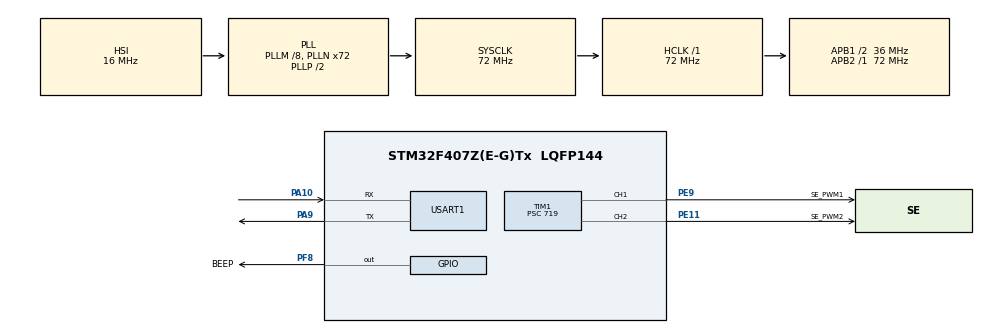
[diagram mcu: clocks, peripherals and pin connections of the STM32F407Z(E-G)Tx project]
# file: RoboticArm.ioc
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Mcu.Family=STM32F4
Mcu.Name=STM32F407Z(E-G)Tx
Mcu.Package=LQFP144
NVIC.PriorityGroup=NVIC_PRIORITYGROUP_4
NVIC.TIM1_BRK_TIM9_IRQn=true\:0\:0\:false\:false\:true\:true\:true\:true
NVIC.TIM1_CC_IRQn=true\:0\:0\:false\:false\:true\:true\:true\:true
NVIC.TIM1_TRG_COM_TIM11_IRQn=true\:0\:0\:false\:false\:true\:true\:true\:true
NVIC.TIM1_UP_TIM10_IRQn=true\:0\:0\:false\:false\:true\:true\:true\:true
NVIC.USART1_IRQn=true\:0\:0\:false\:false\:true\:true\:true\:true
PA10.Mode=Asynchronous
PA10.Signal=USART1_RX
PA9.Mode=Asynchronous
PA9.Signal=USART1_TX
PC14-OSC32_IN.Mode=LSE-External-Clock-Source
PC14-OSC32_IN.Signal=RCC_OSC32_IN
PC15-OSC32_OUT.Mode=LSE-External-Clock-Source
PC15-OSC32_OUT.Signal=RCC_OSC32_OUT
PE11.GPIO_Label=SE_PWM2
PE11.Signal=S_TIM1_CH2
PE9.GPIO_Label=SE_PWM1
PE9.Signal=S_TIM1_CH1
PF8.GPIO_Label=BEEP
PF8.GPIO_PuPd=GPIO_NOPULL
PF8.PinState=GPIO_PIN_RESET
PF8.Signal=GPIO_Output
PH0-OSC_IN.Mode=HSE-External-Clock-Source
PH0-OSC_IN.Signal=RCC_OSC_IN
PH1-OSC_OUT.Mode=HSE-External-Clock-Source
PH1-OSC_OUT.Signal=RCC_OSC_OUT
ProjectManager.HeapSize=0x200
ProjectManager.StackSize=0x400
ProjectManager.TargetToolchain=CMake
RCC.48MHZClocksFreq_Value=36000000
RCC.AHBFreq_Value=72000000
RCC.APB1CLKDivider=RCC_HCLK_DIV2
RCC.APB1Freq_Value=36000000
RCC.APB1TimFreq_Value=72000000
RCC.APB2Freq_Value=72000000
RCC.APB2TimFreq_Value=72000000
RCC.CortexFreq_Value=72000000
RCC.HCLKFreq_Value=72000000
RCC.HSE_VALUE=8000000
RCC.HSI_VALUE=16000000
RCC.LSE_VALUE=32768
RCC.PLLM=8
RCC.PLLN=72
RCC.SYSCLKFreq_VALUE=72000000
RCC.SYSCLKSource=RCC_SYSCLKSOURCE_PLLCLK
RCC.VCOOutputFreq_Value=144000000
SH.S_TIM1_CH1.0=TIM1_CH1,PWM Generation1 CH1
SH.S_TIM1_CH2.0=TIM1_CH2,PWM Generation2 CH2
TIM1.Channel-PWM\ Generation1\ CH1=TIM_CHANNEL_1
TIM1.Channel-PWM\ Generation2\ CH2=TIM_CHANNEL_2
TIM1.Period=999
TIM1.Prescaler=719
USART1.VirtualMode=VM_ASYNC
VP_TIM1_VS_ClockSourceINT.Mode=Internal
board=custom

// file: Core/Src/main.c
/* USER CODE BEGIN Header */
/**
  ******************************************************************************
  * @file           : main.c
  * @brief          : Main program body
  ******************************************************************************
  * @attention
  *
  * Copyright (c) 2024 STMicroelectronics.
  * All rights reserved.
  *
  * This software is licensed under terms that can be found in the LICENSE file
  * in the root directory of this software component.
  * If no LICENSE file comes with this software, it is provided AS-IS.
  *
  ******************************************************************************
  */
/* USER CODE END Header */
#include "main.h"
#include "tim.h"
#include "usart.h"
#include "gpio.h"

/* USER CODE BEGIN Includes */
#include <stdio.h>

#include "arm.h"
/* USER CODE END Includes */

/* USER CODE BEGIN PV */
Motor_TypeDef motor1;
Motor_TypeDef motor2;
Arm_TypeDef arm;
/* USER CODE END PV */

void SystemClock_Config(void);
/* USER CODE BEGIN PFP */
int __io_putchar(int ch);

void Az_Arm_Init(double degree1, double degree2);

/* USER CODE END PFP */

int main(void)
{

  /* MCU Configuration--------------------------------------------------------*/

  /* Reset of all peripherals, Initializes the Flash interface and the Systick. */
  HAL_Init();

  /* Configure the system clock */
  SystemClock_Config();

  /* Initialize all configured peripherals */
  MX_GPIO_Init();
  MX_TIM1_Init();
  MX_USART1_UART_Init();
  /* USER CODE BEGIN 2 */
  // Az_Arm_Init(0, 0);
  // HAL_Delay(2000);
  /* USER CODE END 2 */

  /* Infinite loop */
  /* USER CODE BEGIN WHILE */
  printf("Program Starts\n");

  HAL_TIM_PWM_Start(&htim1, TIM_CHANNEL_1);
  HAL_TIM_PWM_Start(&htim1, TIM_CHANNEL_2);

  uint16_t compare = 50;
  __HAL_TIM_SetCompare(&htim1, TIM_CHANNEL_1, compare);
  __HAL_TIM_SetCompare(&htim1, TIM_CHANNEL_2, compare);

  int i = 0;
  while (1) {
    /* USER CODE END WHILE */

    /* USER CODE BEGIN 3 */
    printf("the %dth loop\n", ++i);

    HAL_GPIO_TogglePin(BEEP_GPIO_Port, BEEP_Pin);
    HAL_Delay(50);
    HAL_GPIO_TogglePin(BEEP_GPIO_Port, BEEP_Pin);
    HAL_Delay(50);

    HAL_Delay(2000);
  }
  /* USER CODE END 3 */
}

void SystemClock_Config(void)
{
  RCC_OscInitTypeDef RCC_OscInitStruct = {0};
  RCC_ClkInitTypeDef RCC_ClkInitStruct = {0};

  /** Configure the main internal regulator output voltage
  */
  __HAL_RCC_PWR_CLK_ENABLE();
  __HAL_PWR_VOLTAGESCALING_CONFIG(PWR_REGULATOR_VOLTAGE_SCALE1);

  /** Initializes the RCC Oscillators according to the specified parameters
  * in the RCC_OscInitTypeDef structure.
  */
  RCC_OscInitStruct.OscillatorType = RCC_OSCILLATORTYPE_HSI;
  RCC_OscInitStruct.HSIState = RCC_HSI_ON;
  RCC_OscInitStruct.HSICalibrationValue = RCC_HSICALIBRATION_DEFAULT;
  RCC_OscInitStruct.PLL.PLLState = RCC_PLL_ON;
  RCC_OscInitStruct.PLL.PLLSource = RCC_PLLSOURCE_HSI;
  RCC_OscInitStruct.PLL.PLLM = 8;
  RCC_OscInitStruct.PLL.PLLN = 72;
  RCC_OscInitStruct.PLL.PLLP = RCC_PLLP_DIV2;
  RCC_OscInitStruct.PLL.PLLQ = 4;
  if (HAL_RCC_OscConfig(&RCC_OscInitStruct) != HAL_OK)
  {
    Error_Handler();
  }

  /** Initializes the CPU, AHB and APB buses clocks
  */
  RCC_ClkInitStruct.ClockType = RCC_CLOCKTYPE_HCLK|RCC_CLOCKTYPE_SYSCLK
                              |RCC_CLOCKTYPE_PCLK1|RCC_CLOCKTYPE_PCLK2;
  RCC_ClkInitStruct.SYSCLKSource = RCC_SYSCLKSOURCE_PLLCLK;
  RCC_ClkInitStruct.AHBCLKDivider = RCC_SYSCLK_DIV1;
  RCC_ClkInitStruct.APB1CLKDivider = RCC_HCLK_DIV2;
  RCC_ClkInitStruct.APB2CLKDivider = RCC_HCLK_DIV1;

  if (HAL_RCC_ClockConfig(&RCC_ClkInitStruct, FLASH_LATENCY_2) != HAL_OK)
  {
    Error_Handler();
  }
}

/* USER CODE BEGIN 4 */
int __io_putchar(int ch) {
  HAL_UART_Transmit(&huart1, (uint8_t *) &ch, 1, 0xFFFF);
  return ch;
}

void Az_Arm_Init(double degree1, double degree2) {
  Motor_Init(&motor1, &htim1, TIM_CHANNEL_1, degree1, 0,135);
  Motor_Init(&motor2, &htim1, TIM_CHANNEL_2, degree2, 0, 135);
  Arm_Init(&arm, &motor1, &motor2);
}

/* USER CODE END 4 */

void Error_Handler(void)
{
  __disable_irq();
  while (1) {
  }
}
